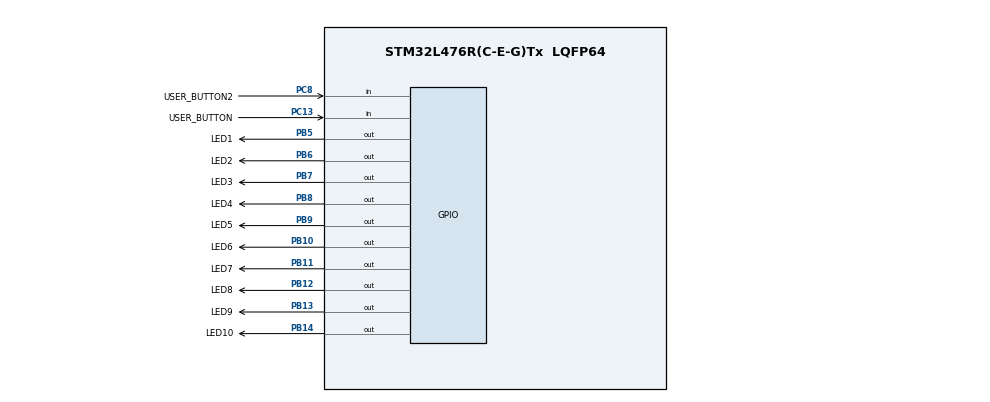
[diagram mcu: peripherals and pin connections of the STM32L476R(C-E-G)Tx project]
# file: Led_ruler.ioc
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Mcu.Family=STM32L4
Mcu.Name=STM32L476R(C-E-G)Tx
Mcu.Package=LQFP64
NVIC.PriorityGroup=NVIC_PRIORITYGROUP_4
PB10.GPIO_Label=LED6
PB10.Signal=GPIO_Output
PB11.GPIO_Label=LED7
PB11.Signal=GPIO_Output
PB12.GPIO_Label=LED8
PB12.Signal=GPIO_Output
PB13.GPIO_Label=LED9
PB13.Signal=GPIO_Output
PB14.GPIO_Label=LED10
PB14.Signal=GPIO_Output
PB5.GPIO_Label=LED1
PB5.Signal=GPIO_Output
PB6.GPIO_Label=LED2
PB6.Signal=GPIO_Output
PB7.GPIO_Label=LED3
PB7.Signal=GPIO_Output
PB8.GPIO_Label=LED4
PB8.Signal=GPIO_Output
PB9.GPIO_Label=LED5
PB9.Signal=GPIO_Output
PC13.GPIO_Label=USER_BUTTON
PC13.Signal=GPIO_Input
PC8.GPIO_Label=USER_BUTTON2
PC8.GPIO_PuPd=GPIO_PULLUP
PC8.Signal=GPIO_Input
ProjectManager.HeapSize=0x200
ProjectManager.StackSize=0x400
ProjectManager.TargetToolchain=STM32CubeIDE
RCC.HSE_VALUE=8000000
RCC.HSI_VALUE=16000000
RCC.LSE_VALUE=32768
RCC.MSI_VALUE=4000000
RCC.VCOOutputFreq_Value=32000000
board=custom

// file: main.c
/* USER CODE BEGIN Header */
/**
  ******************************************************************************
  * @file           : main.c
  * @brief          : Main program body
  ******************************************************************************
  * @attention
  *
  * Copyright (c) 2025 STMicroelectronics.
  * All rights reserved.
  *
  * This software is licensed under terms that can be found in the LICENSE file
  * in the root directory of this software component.
  * If no LICENSE file comes with this software, it is provided AS-IS.
  *
  ******************************************************************************
  */
/* USER CODE END Header */
#include "main.h"

/* USER CODE BEGIN Includes */

#include <stdbool.h>

/* USER CODE END Includes */

void SystemClock_Config(void);
static void MX_GPIO_Init(void);

/* USER CODE BEGIN 0 */

bool is_button_pressed(int button) {
  switch (button) {
  case 0:
    if (HAL_GPIO_ReadPin(USER_BUTTON_GPIO_Port, USER_BUTTON_Pin) == GPIO_PIN_RESET) {
      return true;
    } else {
      return false;
    }
  case 1:
    if (HAL_GPIO_ReadPin(USER_BUTTON2_GPIO_Port, USER_BUTTON2_Pin) == GPIO_PIN_RESET) {
      return true;
    } else {
      return false;
    }

  default:
    return false;
  }
}

void led_set(int led, bool turn_on){
	GPIO_PinState state;
	if(turn_on)
		state = GPIO_PIN_SET;
	else
		state = GPIO_PIN_RESET;

	if(led >= 0 && led < 10)
		HAL_GPIO_WritePin(LED10_GPIO_Port, LED1_Pin << led, state);
}

/* USER CODE END 0 */

int main(void)
{

  /* MCU Configuration--------------------------------------------------------*/

  /* Reset of all peripherals, Initializes the Flash interface and the Systick. */
  HAL_Init();

  /* Configure the system clock */
  SystemClock_Config();

  /* Initialize all configured peripherals */
  MX_GPIO_Init();

  /* Infinite loop */
  /* USER CODE BEGIN WHILE */

  int led = 0;
  led_set(led, true);

  while (1)
  {

	  if(is_button_pressed(0)){
		  led_set(led, false);
		  if (++led >= 10) {
		      led = 0;
		    }
		  led_set(led, true);
		  while (is_button_pressed(0))
		     {}
	  }

	  if (is_button_pressed(1)) {
	  		// Po wcisnieciu przycisku wylacz diodę
	  		led_set(led, false);
	  		// Zmniejsz zawartosc zmiennej led
	  		led--;
	  		// Sprawdz czy nie przekracza zakresu
	  		if (led < 0) {
	  		  led = 9;
	  		}
	  		// Wlacz kolejna diode
	  		led_set(led, true);
	  		// czekamy na zwolnienie przycisku
	  		while (is_button_pressed(1)) {}
	  	}

//	  int i;
//	  for(i = 0; i < 10; i++){
//		  led_set(i, true);
//		  HAL_Delay(100);
//		  led_set(i, false);
//	  }

    /* USER CODE END WHILE */

  }
}

void SystemClock_Config(void)
{
  RCC_OscInitTypeDef RCC_OscInitStruct = {0};
  RCC_ClkInitTypeDef RCC_ClkInitStruct = {0};

  /** Configure the main internal regulator output voltage
  */
  if (HAL_PWREx_ControlVoltageScaling(PWR_REGULATOR_VOLTAGE_SCALE1) != HAL_OK)
  {
    Error_Handler();
  }

  /** Initializes the RCC Oscillators according to the specified parameters
  * in the RCC_OscInitTypeDef structure.
  */
  RCC_OscInitStruct.OscillatorType = RCC_OSCILLATORTYPE_MSI;
  RCC_OscInitStruct.MSIState = RCC_MSI_ON;
  RCC_OscInitStruct.MSICalibrationValue = 0;
  RCC_OscInitStruct.MSIClockRange = RCC_MSIRANGE_6;
  RCC_OscInitStruct.PLL.PLLState = RCC_PLL_NONE;
  if (HAL_RCC_OscConfig(&RCC_OscInitStruct) != HAL_OK)
  {
    Error_Handler();
  }

  /** Initializes the CPU, AHB and APB buses clocks
  */
  RCC_ClkInitStruct.ClockType = RCC_CLOCKTYPE_HCLK|RCC_CLOCKTYPE_SYSCLK
                              |RCC_CLOCKTYPE_PCLK1|RCC_CLOCKTYPE_PCLK2;
  RCC_ClkInitStruct.SYSCLKSource = RCC_SYSCLKSOURCE_MSI;
  RCC_ClkInitStruct.AHBCLKDivider = RCC_SYSCLK_DIV1;
  RCC_ClkInitStruct.APB1CLKDivider = RCC_HCLK_DIV1;
  RCC_ClkInitStruct.APB2CLKDivider = RCC_HCLK_DIV1;

  if (HAL_RCC_ClockConfig(&RCC_ClkInitStruct, FLASH_LATENCY_0) != HAL_OK)
  {
    Error_Handler();
  }
}

static void MX_GPIO_Init(void)
{
  GPIO_InitTypeDef GPIO_InitStruct = {0};

  /* GPIO Ports Clock Enable */
  __HAL_RCC_GPIOC_CLK_ENABLE();
  __HAL_RCC_GPIOB_CLK_ENABLE();

  /*Configure GPIO pin Output Level */
  HAL_GPIO_WritePin(GPIOB, LED6_Pin|LED7_Pin|LED8_Pin|LED9_Pin
                          |LED10_Pin|LED1_Pin|LED2_Pin|LED3_Pin
                          |LED4_Pin|LED5_Pin, GPIO_PIN_RESET);

  /*Configure GPIO pin : USER_BUTTON_Pin */
  GPIO_InitStruct.Pin = USER_BUTTON_Pin;
  GPIO_InitStruct.Mode = GPIO_MODE_INPUT;
  GPIO_InitStruct.Pull = GPIO_NOPULL;
  HAL_GPIO_Init(USER_BUTTON_GPIO_Port, &GPIO_InitStruct);

  /*Configure GPIO pins : LED6_Pin LED7_Pin LED8_Pin LED9_Pin
                           LED10_Pin LED1_Pin LED2_Pin LED3_Pin
                           LED4_Pin LED5_Pin */
  GPIO_InitStruct.Pin = LED6_Pin|LED7_Pin|LED8_Pin|LED9_Pin
                          |LED10_Pin|LED1_Pin|LED2_Pin|LED3_Pin
                          |LED4_Pin|LED5_Pin;
  GPIO_InitStruct.Mode = GPIO_MODE_OUTPUT_PP;
  GPIO_InitStruct.Pull = GPIO_NOPULL;
  GPIO_InitStruct.Speed = GPIO_SPEED_FREQ_LOW;
  HAL_GPIO_Init(GPIOB, &GPIO_InitStruct);

  /*Configure GPIO pin : USER_BUTTON2_Pin */
  GPIO_InitStruct.Pin = USER_BUTTON2_Pin;
  GPIO_InitStruct.Mode = GPIO_MODE_INPUT;
  GPIO_InitStruct.Pull = GPIO_PULLUP;
  HAL_GPIO_Init(USER_BUTTON2_GPIO_Port, &GPIO_InitStruct);

}

void Error_Handler(void)
{
  __disable_irq();
  while (1)
  {
  }
}
